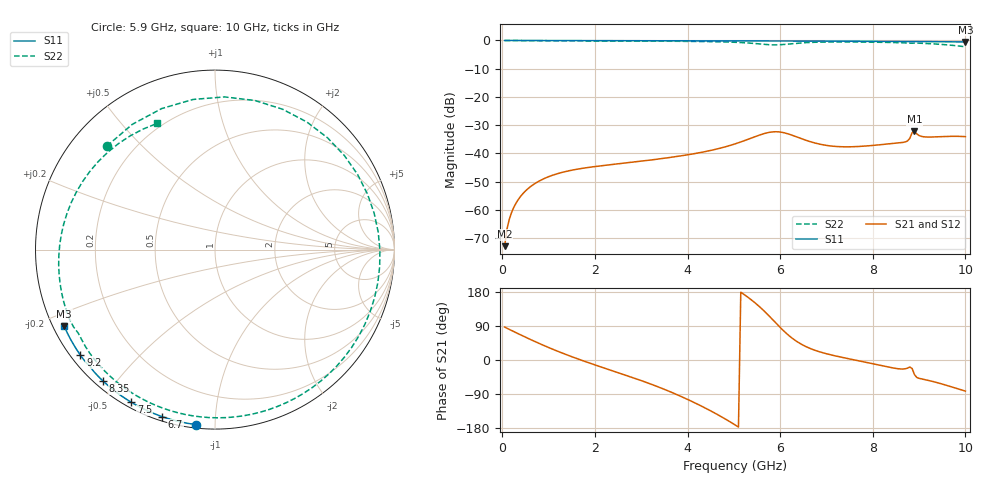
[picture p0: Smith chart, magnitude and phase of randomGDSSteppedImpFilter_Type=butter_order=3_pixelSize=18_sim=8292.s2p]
! freq	dB(S11)	phase(S11)	dB(S12)	phase(S12)
!  dB(S21)	phase(S21)	dB(S22)	phase(S22)
!S-par simulation data
#  GHz  S  DB  R 50
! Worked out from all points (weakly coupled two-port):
!   200 points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, 50 MHz to 10 GHz, reference 50 ohm
!   highest |S21| = -32.19 dB at 8.9 GHz (marker M1); lowest = -72.9 dB at 50 MHz (marker M2)
!   lowest |S11| = -0.5 dB at 10 GHz (marker M3), VSWR 33.71, Z = 1.57 - j12 ohm
!   |S11| at or under -10 dB: nowhere
!   |S22| runs from -2.2 to 0.0 dB; largest |S21 - S12| = 0
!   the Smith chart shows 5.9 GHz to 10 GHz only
!   S11 on the Smith chart (normalised r, x): 5.9 GHz: 0.02, -0.90; 6.7 GHz: 0.02, -0.73; 7.5 GHz: 0.02, -0.59; 8.35 GHz: 0.02, -0.46; 9.2 GHz: 0.03, -0.34; 10 GHz: 0.03, -0.24
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0.05  -0.00 -0.9  -72.89 86.9  -72.89 86.9  -0.01 -5.2
0.3  -0.01 -5.3  -57.54 71.9  -57.54 71.9  -0.04 -30.9
0.85  -0.02 -15.0  -49.35 40.8  -49.35 40.8  -0.10 -84.4
1.75  -0.04 -30.5  -45.25 -2.3  -45.25 -2.3  -0.16 -160.9
2.45  -0.05 -42.4  -43.81 -31.3  -43.81 -31.3  -0.19 145.7
2.95  -0.07 -50.7  -42.87 -52.1  -42.87 -52.1  -0.22 108.3
3.4  -0.08 -58.0  -41.95 -72.6  -41.95 -72.6  -0.26 74.2
4.3  -0.10 -72.2  -39.65 -121.7  -39.65 -121.7  -0.37 2.9
4.7  -0.12 -78.3  -38.20 -147.6  -38.20 -147.6  -0.48 -32.1
5.05  -0.13 -83.6  -36.52 -173.1  -36.52 -173.1  -0.66 -68.0
5.45  -0.15 -89.6  -34.14 151.6  -34.14 151.6  -1.08 -123.7
5.7  -0.16 -93.2  -32.79 123.8  -32.79 123.8  -1.44 -174.1
5.9  -0.17 -96.1  -32.34 98.5  -32.34 98.5  -1.57 136.3
6.15  -0.18 -99.7  -32.99 68.5  -32.99 68.5  -1.31 75.0
6.4  -0.19 -103.3  -34.43 45.7  -34.43 45.7  -0.94 27.8
6.7  -0.21 -107.5  -36.10 27.9  -36.10 27.9  -0.67 -11.6
7.5  -0.27 -118.7  -37.68 2.8  -37.68 2.8  -0.54 -74.5
8.35  -0.34 -130.4  -36.64 -19.0  -36.64 -19.0  -0.70 -121.4
8.9  -0.42 -137.6  -32.19 -38.5  -32.19 -38.5  -0.93 -151.4
9.2  -0.42 -141.9  -34.23 -53.7  -34.23 -53.7  -1.12 -171.1
9.6  -0.47 -147.5  -34.01 -67.1  -34.01 -67.1  -1.55 157.5
10  -0.52 -153.0  -34.09 -82.1  -34.09 -82.1  -2.23 114.6
